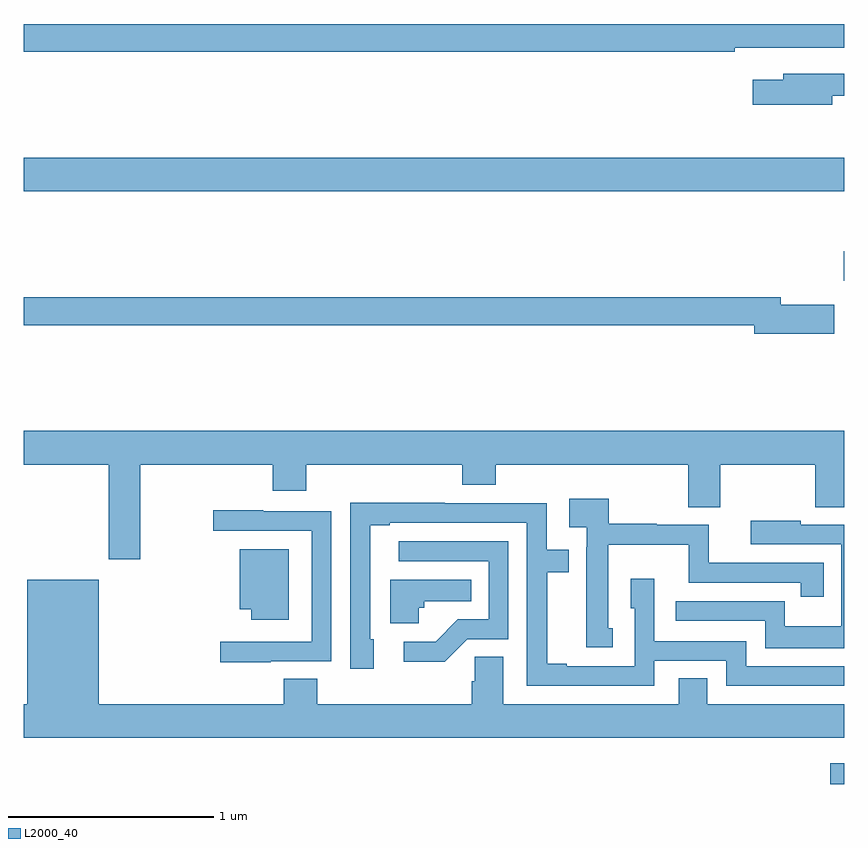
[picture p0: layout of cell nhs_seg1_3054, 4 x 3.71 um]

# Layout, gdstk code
import gdstk
lib = gdstk.Library(unit=1e-6, precision=1e-09)
def R(c, l, rs):  # rectangles x0, y0, x1, y1
    for r in rs: c.add(gdstk.rectangle(r[:2], r[2:], *l))
def P(c, l, *ps):  # polygons
    for p in ps: c.add(gdstk.Polygon(p, *l))
L2000_40 = (2000, 40)

nhs_seg1_3054 = lib.new_cell('nhs_seg1_3054')
R(nhs_seg1_3054, L2000_40, [(280.932,526.199,281,526.3), (280.998,528.653,281,528.795), (277,529.088,281,529.252)])
P(nhs_seg1_3054, L2000_40, [(280.466,529.788),(281,529.788),(281,529.904),(277,529.904),(277,529.768),(280.466,529.768)],
  [(280.942,529.554),(281,529.554),(281,529.662),(280.703,529.662),(280.703,529.633),(280.554,529.633),(280.554,529.511),(280.942,529.511)],
  [(280.951,528.536),(280.69,528.536),(280.69,528.572),(277,528.572),(277,528.436),(280.562,528.436),(280.562,528.394),(280.951,528.394)],
  [(277.569,527.756),(278.213,527.756),(278.213,527.628),(278.378,527.628),(278.378,527.756),(279.137,527.756),(279.137,527.657),(279.302,527.657),(279.302,527.756),(280.24,527.756),(280.24,527.548),(280.395,527.548),(280.395,527.756),(280.858,527.756),(280.858,527.548),(281,527.548),(281,527.92),(277,527.92),(277,527.756),(277.414,527.756),(277.414,527.295),(277.569,527.295)],
  [(279.871,526.959),(279.85,526.959),(279.85,527.366),(280.241,527.366),(280.241,527.181),(280.788,527.181),(280.788,527.112),(280.901,527.112),(280.901,527.277),(280.34,527.277),(280.34,527.463),(280.086,527.463),(280.086,527.468),(279.853,527.468),(279.853,527.59),(279.66,527.59),(279.66,527.45),(279.744,527.45),(279.744,527.354),(279.743,527.354),(279.743,526.866),(279.871,526.866)],
  [(280.074,526.8),(280.425,526.8),(280.425,526.677),(281,526.677),(281,526.773),(280.521,526.773),(280.521,526.896),(280.074,526.896),(280.074,527.2),(279.959,527.2),(279.959,527.055),(279.978,527.055),(279.978,526.773),(279.646,526.773),(279.646,526.786),(279.551,526.786),(279.551,527.232),(279.658,527.232),(279.658,527.34),(279.549,527.34),(279.549,527.568),(279.053,527.568),(279.053,527.57),(278.592,527.57),(278.592,526.761),(278.707,526.761),(278.707,526.905),(278.688,526.905),(278.688,527.46),(278.785,527.46),(278.785,527.472),(279.453,527.472),(279.453,526.677),(280.074,526.677)],
  [(278.203,526.797),(278.499,526.797),(278.499,527.529),(278.167,527.529),(278.167,527.533),(277.923,527.533),(277.923,527.433),(278.403,527.433),(278.403,526.893),(277.959,526.893),(277.959,526.793),(278.203,526.793)],
  [(281,527.463),(280.789,527.463),(280.789,527.482),(280.545,527.482),(280.545,527.367),(280.986,527.367),(280.986,526.969),(280.71,526.969),(280.71,527.09),(280.607,527.09),(280.607,527.091),(280.179,527.091),(280.179,526.995),(280.614,526.995),(280.614,526.862),(281,526.862)],
  [(279.162,526.905),(279.363,526.905),(279.363,527.382),(278.829,527.382),(278.829,527.286),(279.267,527.286),(279.267,527.001),(279.116,527.001),(279.008,526.893),(278.853,526.893),(278.853,526.796),(279.052,526.796)],
  [(278.293,527.344),(278.054,527.344),(278.054,527.051),(278.108,527.051),(278.108,527),(278.293,527)],
  [(281,526.588),(280.333,526.588),(280.333,526.715),(280.193,526.715),(280.193,526.588),(279.337,526.588),(279.337,526.82),(279.199,526.82),(279.199,526.7),(279.185,526.7),(279.185,526.588),(278.432,526.588),(278.432,526.712),(278.267,526.712),(278.267,526.588),(277.366,526.588),(277.366,527.194),(277.016,527.194),(277.016,526.588),(277,526.588),(277,526.424),(281,526.424)],
  [(278.926,527.058),(278.952,527.058),(278.952,527.09),(279.182,527.09),(279.182,527.194),(278.786,527.194),(278.786,526.982),(278.926,526.982)])

lib.write_gds('nhs_seg1_3054.gds')
